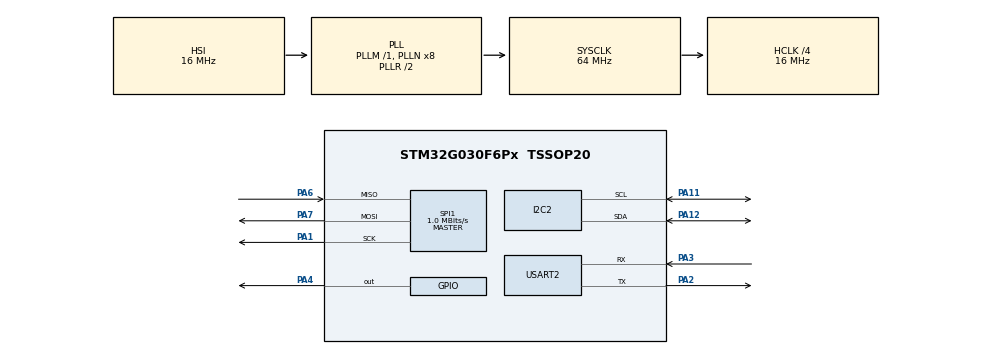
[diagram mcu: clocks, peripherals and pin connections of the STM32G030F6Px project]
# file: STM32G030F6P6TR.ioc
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I2C2.Timing=0x00503D58
Mcu.Family=STM32G0
Mcu.Name=STM32G030F6Px
Mcu.Package=TSSOP20
NVIC.TIM14_IRQn=true\:0\:0\:false\:false\:true\:true\:true\:true
PA1.Mode=Full_Duplex_Master
PA1.Signal=SPI1_SCK
PA11\ [PA9].Mode=I2C
PA11\ [PA9].Signal=I2C2_SCL
PA12\ [PA10].Mode=I2C
PA12\ [PA10].Signal=I2C2_SDA
PA13.Mode=Serial_Wire
PA13.Signal=SYS_SWDIO
PA14-BOOT0.Mode=Serial_Wire
PA14-BOOT0.Signal=SYS_SWCLK
PA14-BOOT0__PA15.StandardMode=true
PA2.Mode=Asynchronous
PA2.Signal=USART2_TX
PA3.Mode=Asynchronous
PA3.Signal=USART2_RX
PA4.PinState=GPIO_PIN_SET
PA4.Signal=GPIO_Output
PA6.Mode=Full_Duplex_Master
PA6.Signal=SPI1_MISO
PA7.Mode=Full_Duplex_Master
PA7.Signal=SPI1_MOSI
PB0__PB1__PB2__PA8.StandardMode=true
PB3__PB4__PB5__PB6.StandardMode=true
PB7__PB8.StandardMode=true
PC14-OSC32_IN\ (PC14)__PB9.StandardMode=true
ProjectManager.HeapSize=0x200
ProjectManager.StackSize=0x400
ProjectManager.TargetToolchain=STM32CubeIDE
RCC.ADCFreq_Value=64000000
RCC.AHBCLKDivider=RCC_SYSCLK_DIV4
RCC.AHBFreq_Value=16000000
RCC.CortexFreq_Value=16000000
RCC.EXTERNAL_CLOCK_VALUE=12288000
RCC.HCLKFreq_Value=16000000
RCC.HSE_VALUE=8000000
RCC.HSI_VALUE=16000000
RCC.LSE_VALUE=32768
RCC.SYSCLKFreq_VALUE=64000000
RCC.SYSCLKSource=RCC_SYSCLKSOURCE_PLLCLK
RCC.VCOOutputFreq_Value=128000000
SPI1.BaudRatePrescaler=SPI_BAUDRATEPRESCALER_16
SPI1.CalculateBaudRate=1.0 MBits/s
SPI1.Direction=SPI_DIRECTION_2LINES
SPI1.Mode=SPI_MODE_MASTER
SPI1.VirtualType=VM_MASTER
TIM14.Period=10000-1
TIM14.Prescaler=1600-1
USART2.VirtualMode-Asynchronous=VM_ASYNC
VP_TIM14_VS_ClockSourceINT.Mode=Enable_Timer
board=custom

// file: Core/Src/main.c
/* USER CODE BEGIN Header */
/**
  ******************************************************************************
  * @file           : main.c
  * @brief          : Main program body
  ******************************************************************************
  * @attention
  *
  * Copyright (c) 2025 STMicroelectronics.
  * All rights reserved.
  *
  * This software is licensed under terms that can be found in the LICENSE file
  * in the root directory of this software component.
  * If no LICENSE file comes with this software, it is provided AS-IS.
  *
  ******************************************************************************
  */
/* USER CODE END Header */
#include "main.h"

/* USER CODE BEGIN Includes */
#include "PMW3901MB/pmw_3901.h"
#include "VL53L1X/vl53l1x.h"
#include "VL53L1X/vl53_ground_bootstrap.h"
#include "Adapter/massage_adapter.h"

/* USER CODE END Includes */

/* USER CODE BEGIN PD */
#define PMW_READ_DELAY_MS               1U
#define PMW_INIT_RETRY_INTERVAL_MS      1000U
#define PMW_SCALE_PER_MILLE             3000U
#define FLOW_PERIOD_MS                  20U
#define DISTANCE_PERIOD_MS              100U
#define HEARTBEAT_PERIOD_MS             1000U
#define PMW3901_ENABLE_PERIODIC_DIAGNOSTICS 0U
#if PMW3901_ENABLE_PERIODIC_DIAGNOSTICS
#define PMW_DIAG_PERIOD_MS              1000U
#endif

#if PMW3901_ACQUISITION_MODE == PMW3901_ACQ_DIRECT
#define PMW_MODE_STATUS_TEXT             "PMW mode direct"
#else
#define PMW_MODE_STATUS_TEXT             "PMW mode burst"
#endif

/* USER CODE END PD */

I2C_HandleTypeDef hi2c2;

SPI_HandleTypeDef hspi1;

TIM_HandleTypeDef htim14;

UART_HandleTypeDef huart2;

void SystemClock_Config(void);
static void MX_GPIO_Init(void);
static void MX_SPI1_Init(void);
static void MX_USART2_UART_Init(void);
static void MX_TIM14_Init(void);
static void MX_I2C2_Init(void);
/* USER CODE BEGIN PFP */
static void PMW_SendInitFailed(uint8_t err);
#if PMW3901_ENABLE_PERIODIC_DIAGNOSTICS
static void PMW_SendRawDiagnostics(void);
static void PMW_SendDirectDiagnostics(const PMW3901_Diagnostics *diagnostics);
static void PMW_SendDirectStatistics(const PMW3901_Diagnostics *diagnostics);
static void PMW_SendBurstStatistics(const PMW3901_Diagnostics *diagnostics);
#endif
static void PMW_SendConfigDiagnostics(void);
static uint8_t PMW_AppendChar(char *message, uint8_t index, char value);
static uint8_t PMW_AppendText(char *message, uint8_t index, const char *text);
static uint8_t PMW_AppendHex8(char *message, uint8_t index, uint8_t value);
#if PMW3901_ENABLE_PERIODIC_DIAGNOSTICS
static uint8_t PMW_AppendHex16(char *message, uint8_t index, uint16_t value);
#endif
static uint8_t PMW_AppendUnsigned(char *message, uint8_t index, uint32_t value);
#if PMW3901_ENABLE_PERIODIC_DIAGNOSTICS
static uint8_t PMW_AppendSigned(char *message, uint8_t index, int16_t value);
#endif

/* USER CODE END PFP */

/* USER CODE BEGIN 0 */
static void PMW_SendInitFailed(uint8_t err)
{
	char msg[] = "PMW init failed err=000";
	uint8_t index = 20U;

	if (err >= 100U) {
		msg[index++] = (char)('0' + (err / 100U));
		msg[index++] = (char)('0' + ((err / 10U) % 10U));
		msg[index++] = (char)('0' + (err % 10U));
		msg[index] = '\0';
	} else if (err >= 10U) {
		msg[index++] = (char)('0' + (err / 10U));
		msg[index++] = (char)('0' + (err % 10U));
		msg[index] = '\0';
	} else {
		msg[index++] = (char)('0' + err);
		msg[index] = '\0';
	}

	send_status_text(&huart2, MAV_SEVERITY_WARNING, msg);
}

static uint8_t PMW_AppendChar(char *message, uint8_t index, char value)
{
	if (index < 49U) {
		message[index++] = value;
	}
	message[index] = '\0';
	return index;
}

static uint8_t PMW_AppendText(char *message, uint8_t index, const char *text)
{
	while ((*text != '\0') && (index < 49U)) {
		message[index++] = *text++;
	}
	message[index] = '\0';
	return index;
}

static uint8_t PMW_AppendHex8(char *message, uint8_t index, uint8_t value)
{
	static const char hex[] = "0123456789ABCDEF";
	index = PMW_AppendChar(message, index, hex[(value >> 4) & 0x0FU]);
	return PMW_AppendChar(message, index, hex[value & 0x0FU]);
}

#if PMW3901_ENABLE_PERIODIC_DIAGNOSTICS
static uint8_t PMW_AppendHex16(char *message, uint8_t index, uint16_t value)
{
	index = PMW_AppendHex8(message, index, (uint8_t)(value >> 8));
	return PMW_AppendHex8(message, index, (uint8_t)value);
}
#endif

static uint8_t PMW_AppendUnsigned(char *message, uint8_t index, uint32_t value)
{
	char digits[3];
	uint8_t count = 0U;

	if (value > 999U) {
		value = 999U;
	}
	do {
		digits[count++] = (char)('0' + (value % 10U));
		value /= 10U;
	} while ((value != 0U) && (count < sizeof(digits)));

	while (count > 0U) {
		index = PMW_AppendChar(message, index, digits[--count]);
	}
	return index;
}

#if PMW3901_ENABLE_PERIODIC_DIAGNOSTICS
static uint8_t PMW_AppendSigned(char *message, uint8_t index, int16_t value)
{
	int32_t signed_value = value;
	uint32_t magnitude;
	char digits[5];
	uint8_t count = 0U;

	if (signed_value < 0) {
		index = PMW_AppendChar(message, index, '-');
		magnitude = (uint32_t)(-signed_value);
	} else {
		magnitude = (uint32_t)signed_value;
	}

	do {
		digits[count++] = (char)('0' + (magnitude % 10U));
		magnitude /= 10U;
	} while ((magnitude != 0U) && (count < sizeof(digits)));

	while (count > 0U) {
		index = PMW_AppendChar(message, index, digits[--count]);
	}
	return index;
}
#endif

#if PMW3901_ENABLE_PERIODIC_DIAGNOSTICS
static void PMW_SendRawDiagnostics(void)
{
	PMW3901_Diagnostics diagnostics;
	char message[50] = {0};
	uint8_t index = 0U;

	PMW3901_GetDiagnostics(&diagnostics);
	index = PMW_AppendText(message, index, "P S");
	index = PMW_AppendUnsigned(message, index, diagnostics.last_status);
	index = PMW_AppendText(message, index, " M");
	index = PMW_AppendHex8(message, index, diagnostics.last_raw.motion);
	index = PMW_AppendText(message, index, " O");
	index = PMW_AppendHex8(message, index, diagnostics.last_raw.observation);
	index = PMW_AppendText(message, index, " X");
	index = PMW_AppendSigned(message, index, diagnostics.last_raw.delta_x);
	index = PMW_AppendText(message, index, " Y");
	index = PMW_AppendSigned(message, index, diagnostics.last_raw.delta_y);
	index = PMW_AppendText(message, index, " Q");
	index = PMW_AppendUnsigned(message, index, diagnostics.last_raw.squal);
	index = PMW_AppendText(message, index, " H");
	index = PMW_AppendHex16(message, index, diagnostics.last_raw.shutter);
	index = PMW_AppendText(message, index, " E");
	index = PMW_AppendUnsigned(message, index, diagnostics.spi_error_count);
	index = PMW_AppendText(message, index, " R");
	(void)PMW_AppendUnsigned(message, index, diagnostics.reject_count);
	send_status_text(&huart2, MAV_SEVERITY_DEBUG, message);
	PMW_SendDirectDiagnostics(&diagnostics);
	PMW_SendDirectStatistics(&diagnostics);
	PMW_SendBurstStatistics(&diagnostics);
}

static void PMW_SendDirectDiagnostics(const PMW3901_Diagnostics *diagnostics)
{
	char message[50] = {0};
	uint8_t index = 0U;

	index = PMW_AppendText(message, index, "D S");
	index = PMW_AppendUnsigned(message, index, diagnostics->direct_status);
	index = PMW_AppendText(message, index, " M");
	index = PMW_AppendHex8(message, index, diagnostics->last_direct.motion);
	index = PMW_AppendText(message, index, " O");
	index = PMW_AppendHex8(message, index, diagnostics->last_direct.observation);
	index = PMW_AppendText(message, index, " X");
	index = PMW_AppendSigned(message, index, diagnostics->last_direct.delta_x);
	index = PMW_AppendText(message, index, " Y");
	index = PMW_AppendSigned(message, index, diagnostics->last_direct.delta_y);
	index = PMW_AppendText(message, index, " Q");
	index = PMW_AppendUnsigned(message, index, diagnostics->last_direct.squal);
	index = PMW_AppendText(message, index, " H");
	index = PMW_AppendHex16(message, index, diagnostics->last_direct.shutter);
	index = PMW_AppendText(message, index, " E");
	(void)PMW_AppendUnsigned(message, index, diagnostics->spi_error_count);
	send_status_text(&huart2, MAV_SEVERITY_DEBUG, message);
}

static void PMW_SendDirectStatistics(const PMW3901_Diagnostics *diagnostics)
{
	char message[50] = {0};
	uint8_t index = 0U;

	index = PMW_AppendText(message, index, "T C");
	index = PMW_AppendUnsigned(message, index, diagnostics->direct_sample_count);
	index = PMW_AppendText(message, index, " V");
	index = PMW_AppendUnsigned(message, index, diagnostics->direct_motion_count);
	index = PMW_AppendText(message, index, " Q");
	(void)PMW_AppendUnsigned(message, index, diagnostics->direct_squal_nonzero_count);
	send_status_text(&huart2, MAV_SEVERITY_DEBUG, message);
}

static void PMW_SendBurstStatistics(const PMW3901_Diagnostics *diagnostics)
{
	char message[50] = {0};
	uint8_t index = 0U;

	index = PMW_AppendText(message, index, "R U");
	index = PMW_AppendUnsigned(message, index, diagnostics->last_raw.raw_sum);
	index = PMW_AppendText(message, index, " A");
	index = PMW_AppendUnsigned(message, index, diagnostics->last_raw.raw_max);
	index = PMW_AppendText(message, index, " I");
	index = PMW_AppendUnsigned(message, index, diagnostics->last_raw.raw_min);
	index = PMW_AppendText(message, index, " C");
	index = PMW_AppendUnsigned(message, index, diagnostics->sample_count);
	index = PMW_AppendText(message, index, " V");
	index = PMW_AppendUnsigned(message, index, diagnostics->motion_count);
	index = PMW_AppendText(message, index, " Q");
	(void)PMW_AppendUnsigned(message, index, diagnostics->squal_nonzero_count);
	send_status_text(&huart2, MAV_SEVERITY_DEBUG, message);
}
#endif

static void PMW_SendConfigDiagnostics(void)
{
	PMW3901_Diagnostics diagnostics;
	char message[50] = {0};
	uint8_t index = 0U;

	PMW3901_GetDiagnostics(&diagnostics);
	index = PMW_AppendText(message, index, "C S");
	index = PMW_AppendUnsigned(message, index, diagnostics.config_status);
	index = PMW_AppendText(message, index, " D");
	index = PMW_AppendHex8(message, index, diagnostics.config_bank0_4d);
	index = PMW_AppendText(message, index, " A");
	index = PMW_AppendHex8(message, index, diagnostics.config_bank14_65);
	index = PMW_AppendText(message, index, " F");
	index = PMW_AppendHex8(message, index, diagnostics.config_bank15_48);
	index = PMW_AppendText(message, index, " N");
	(void)PMW_AppendUnsigned(message, index, diagnostics.config_mismatch_count);
	send_status_text(&huart2, MAV_SEVERITY_INFO, message);
}

/* USER CODE END 0 */

int main(void)
{

  /* MCU Configuration--------------------------------------------------------*/

  /* Reset of all peripherals, Initializes the Flash interface and the Systick. */
  HAL_Init();

  /* Configure the system clock */
  SystemClock_Config();

  /* Initialize all configured peripherals */
  MX_GPIO_Init();
  MX_SPI1_Init();
  MX_USART2_UART_Init();
	  MX_TIM14_Init();
	  MX_I2C2_Init();
	  /* USER CODE BEGIN 2 */
	  HAL_GPIO_WritePin(GPIOA, GPIO_PIN_4, GPIO_PIN_SET);

	  uint8_t pmw_err = PMW3901_init(hspi1, PMW_READ_DELAY_MS);
	  uint8_t pmw_ok = (pmw_err == 0U);
	  uint32_t pmw_last_retry_ms = HAL_GetTick();

	  if (pmw_ok) {
		  send_status_text(&huart2, MAV_SEVERITY_INFO, "PMW init ok");
		  send_status_text(&huart2, MAV_SEVERITY_INFO, PMW_MODE_STATUS_TEXT);
		  PMW_SendConfigDiagnostics();
	  } else {
		  PMW_SendInitFailed(pmw_err);
	  }
	  uint8_t vl53_ok = vl53_Init();
	  VL53GroundBootstrap range_bootstrap;
	  VL53GroundBootstrap_Reset(&range_bootstrap);
	  VL53RangeMode announced_range_mode = VL53_RANGE_BOOTSTRAP;
	  uint8_t announced_range_mode_valid = 0U;
	  send_status_text(&huart2, vl53_ok ? MAV_SEVERITY_INFO : MAV_SEVERITY_WARNING,
	                   vl53_ok ? "VL53 init ok" : "VL53 init failed");
	  send_heart_beat(&huart2);
  /* USER CODE END 2 */
  /* Infinite loop */
  /* USER CODE BEGIN WHILE */
  uint32_t scheduler_start_ms = HAL_GetTick();
  uint32_t last_flow_ms = scheduler_start_ms;
  uint32_t last_distance_ms = scheduler_start_ms;
  uint32_t last_heartbeat_ms = scheduler_start_ms;
#if PMW3901_ENABLE_PERIODIC_DIAGNOSTICS
  uint32_t last_diag_ms = scheduler_start_ms;
#endif
  uint16_t distance = 0U;
  uint8_t has_distance = 0U;
  uint32_t last_distance_update_ms = 0U;

  while (1) {
	  uint32_t now = HAL_GetTick();

	  if ((!pmw_ok) && (now - pmw_last_retry_ms >= PMW_INIT_RETRY_INTERVAL_MS)) {
		  pmw_last_retry_ms = now;
		  pmw_err = PMW3901_init(hspi1, PMW_READ_DELAY_MS);
		  pmw_ok = (pmw_err == 0U);
		  if (pmw_ok) {
			  send_status_text(&huart2, MAV_SEVERITY_INFO, "PMW init ok");
			  send_status_text(&huart2, MAV_SEVERITY_INFO, PMW_MODE_STATUS_TEXT);
			  PMW_SendConfigDiagnostics();
		  } else {
			  PMW_SendInitFailed(pmw_err);
		  }
	  }

#if PMW3901_ENABLE_PERIODIC_DIAGNOSTICS
	  if (now - last_diag_ms >= PMW_DIAG_PERIOD_MS) {
		  last_diag_ms = now;
		  PMW_SendRawDiagnostics();
	  }
#endif

	  if (now - last_flow_ms >= FLOW_PERIOD_MS) {
		  int x = 0;
		  int y = 0;
		  uint8_t quality = 0U;

		  last_flow_ms = now;
		  if (pmw_ok) {
			  pollingMotion(&x, &y, &quality, PMW_SCALE_PER_MILLE);
		  }
		  uint8_t distance_fresh = (has_distance != 0U) &&
		                           ((now - last_distance_update_ms) <= VL53_DISTANCE_FRESH_TIMEOUT_MS);
		  send_optical_flow(&huart2, x, y, quality, distance, distance_fresh);
	  }

	  if (now - last_distance_ms >= DISTANCE_PERIOD_MS) {
		  uint16_t new_distance = 0U;
		  uint16_t published_distance = 0U;
		  uint8_t using_bootstrap = 0U;
		  last_distance_ms = now;

		  if (vl53_ok) {
			  VL53ReadResult read_result = vl53_GetDistance(&new_distance);

			  if (VL53GroundBootstrap_Update(&range_bootstrap,
			                                 read_result,
			                                 new_distance,
			                                 &published_distance,
			                                 &using_bootstrap) != 0U) {
				  VL53RangeMode published_mode =
				      (using_bootstrap != 0U) ? VL53_RANGE_BOOTSTRAP : VL53_RANGE_REAL_FLIGHT;

				  distance = published_distance;
				  has_distance = 1U;
				  last_distance_update_ms = HAL_GetTick();
				  send_distance_sensor(&huart2, distance);

				  if ((announced_range_mode_valid == 0U) ||
				      (published_mode != announced_range_mode)) {
					  announced_range_mode = published_mode;
					  announced_range_mode_valid = 1U;
					  send_status_text(&huart2,
					                   MAV_SEVERITY_INFO,
					                   (published_mode == VL53_RANGE_BOOTSTRAP) ?
					                       "VL53 ground bootstrap V3 5cm" :
					                       "VL53 real range active");
				  }
			  }
		  }
	  }

	  if (now - last_heartbeat_ms >= HEARTBEAT_PERIOD_MS) {
		  last_heartbeat_ms = now;
		  send_heart_beat(&huart2);
	  }

    /* USER CODE END WHILE */

  }
}

void SystemClock_Config(void)
{
  RCC_OscInitTypeDef RCC_OscInitStruct = {0};
  RCC_ClkInitTypeDef RCC_ClkInitStruct = {0};

  /** Configure the main internal regulator output voltage
  */
  HAL_PWREx_ControlVoltageScaling(PWR_REGULATOR_VOLTAGE_SCALE1);

  /** Initializes the RCC Oscillators according to the specified parameters
  * in the RCC_OscInitTypeDef structure.
  */
  RCC_OscInitStruct.OscillatorType = RCC_OSCILLATORTYPE_HSI;
  RCC_OscInitStruct.HSIState = RCC_HSI_ON;
  RCC_OscInitStruct.HSIDiv = RCC_HSI_DIV1;
  RCC_OscInitStruct.HSICalibrationValue = RCC_HSICALIBRATION_DEFAULT;
  RCC_OscInitStruct.PLL.PLLState = RCC_PLL_ON;
  RCC_OscInitStruct.PLL.PLLSource = RCC_PLLSOURCE_HSI;
  RCC_OscInitStruct.PLL.PLLM = RCC_PLLM_DIV1;
  RCC_OscInitStruct.PLL.PLLN = 8;
  RCC_OscInitStruct.PLL.PLLP = RCC_PLLP_DIV2;
  RCC_OscInitStruct.PLL.PLLR = RCC_PLLR_DIV2;
  if (HAL_RCC_OscConfig(&RCC_OscInitStruct) != HAL_OK)
  {
    Error_Handler();
  }

  /** Initializes the CPU, AHB and APB buses clocks
  */
  RCC_ClkInitStruct.ClockType = RCC_CLOCKTYPE_HCLK|RCC_CLOCKTYPE_SYSCLK
                              |RCC_CLOCKTYPE_PCLK1;
  RCC_ClkInitStruct.SYSCLKSource = RCC_SYSCLKSOURCE_PLLCLK;
  RCC_ClkInitStruct.AHBCLKDivider = RCC_SYSCLK_DIV4;
  RCC_ClkInitStruct.APB1CLKDivider = RCC_HCLK_DIV1;

  if (HAL_RCC_ClockConfig(&RCC_ClkInitStruct, FLASH_LATENCY_0) != HAL_OK)
  {
    Error_Handler();
  }
}

static void MX_I2C2_Init(void)
{

  hi2c2.Instance = I2C2;
  hi2c2.Init.Timing = 0x00503D58;
  hi2c2.Init.OwnAddress1 = 0;
  hi2c2.Init.AddressingMode = I2C_ADDRESSINGMODE_7BIT;
  hi2c2.Init.DualAddressMode = I2C_DUALADDRESS_DISABLE;
  hi2c2.Init.OwnAddress2 = 0;
  hi2c2.Init.OwnAddress2Masks = I2C_OA2_NOMASK;
  hi2c2.Init.GeneralCallMode = I2C_GENERALCALL_DISABLE;
  hi2c2.Init.NoStretchMode = I2C_NOSTRETCH_DISABLE;
  if (HAL_I2C_Init(&hi2c2) != HAL_OK)
  {
    Error_Handler();
  }

  /** Configure Analogue filter
  */
  if (HAL_I2CEx_ConfigAnalogFilter(&hi2c2, I2C_ANALOGFILTER_ENABLE) != HAL_OK)
  {
    Error_Handler();
  }

  /** Configure Digital filter
  */
  if (HAL_I2CEx_ConfigDigitalFilter(&hi2c2, 0) != HAL_OK)
  {
    Error_Handler();
  }

}

static void MX_SPI1_Init(void)
{

  /* SPI1 parameter configuration*/
  hspi1.Instance = SPI1;
  hspi1.Init.Mode = SPI_MODE_MASTER;
  hspi1.Init.Direction = SPI_DIRECTION_2LINES;
  hspi1.Init.DataSize = SPI_DATASIZE_8BIT;
  hspi1.Init.CLKPolarity = SPI_POLARITY_LOW;
  hspi1.Init.CLKPhase = SPI_PHASE_1EDGE;
  hspi1.Init.NSS = SPI_NSS_SOFT;
  hspi1.Init.BaudRatePrescaler = SPI_BAUDRATEPRESCALER_16;
  hspi1.Init.FirstBit = SPI_FIRSTBIT_MSB;
  hspi1.Init.TIMode = SPI_TIMODE_DISABLE;
  hspi1.Init.CRCCalculation = SPI_CRCCALCULATION_DISABLE;
  hspi1.Init.CRCPolynomial = 7;
  hspi1.Init.CRCLength = SPI_CRC_LENGTH_DATASIZE;
  hspi1.Init.NSSPMode = SPI_NSS_PULSE_ENABLE;
  if (HAL_SPI_Init(&hspi1) != HAL_OK)
  {
    Error_Handler();
  }

}

static void MX_TIM14_Init(void)
{

  htim14.Instance = TIM14;
  htim14.Init.Prescaler = 1600-1;
  htim14.Init.CounterMode = TIM_COUNTERMODE_UP;
  htim14.Init.Period = 10000-1;
  htim14.Init.ClockDivision = TIM_CLOCKDIVISION_DIV1;
  htim14.Init.AutoReloadPreload = TIM_AUTORELOAD_PRELOAD_DISABLE;
  if (HAL_TIM_Base_Init(&htim14) != HAL_OK)
  {
    Error_Handler();
  }

}

static void MX_USART2_UART_Init(void)
{

  huart2.Instance = USART2;
  huart2.Init.BaudRate = 115200;
  huart2.Init.WordLength = UART_WORDLENGTH_8B;
  huart2.Init.StopBits = UART_STOPBITS_1;
  huart2.Init.Parity = UART_PARITY_NONE;
  huart2.Init.Mode = UART_MODE_TX_RX;
  huart2.Init.HwFlowCtl = UART_HWCONTROL_NONE;
  huart2.Init.OverSampling = UART_OVERSAMPLING_16;
  huart2.Init.OneBitSampling = UART_ONE_BIT_SAMPLE_DISABLE;
  huart2.Init.ClockPrescaler = UART_PRESCALER_DIV1;
  huart2.AdvancedInit.AdvFeatureInit = UART_ADVFEATURE_NO_INIT;
  if (HAL_UART_Init(&huart2) != HAL_OK)
  {
    Error_Handler();
  }

}

static void MX_GPIO_Init(void)
{
  GPIO_InitTypeDef GPIO_InitStruct = {0};

  /* GPIO Ports Clock Enable */
  __HAL_RCC_GPIOA_CLK_ENABLE();

  /*Configure GPIO pin Output Level */
  HAL_GPIO_WritePin(GPIOA, GPIO_PIN_4, GPIO_PIN_SET);

  /*Configure GPIO pin : PA4 */
  GPIO_InitStruct.Pin = GPIO_PIN_4;
  GPIO_InitStruct.Mode = GPIO_MODE_OUTPUT_PP;
  GPIO_InitStruct.Pull = GPIO_NOPULL;
  GPIO_InitStruct.Speed = GPIO_SPEED_FREQ_LOW;
  HAL_GPIO_Init(GPIOA, &GPIO_InitStruct);

}

void Error_Handler(void)
{
  __disable_irq();
  while (1)
  {
  }
}
